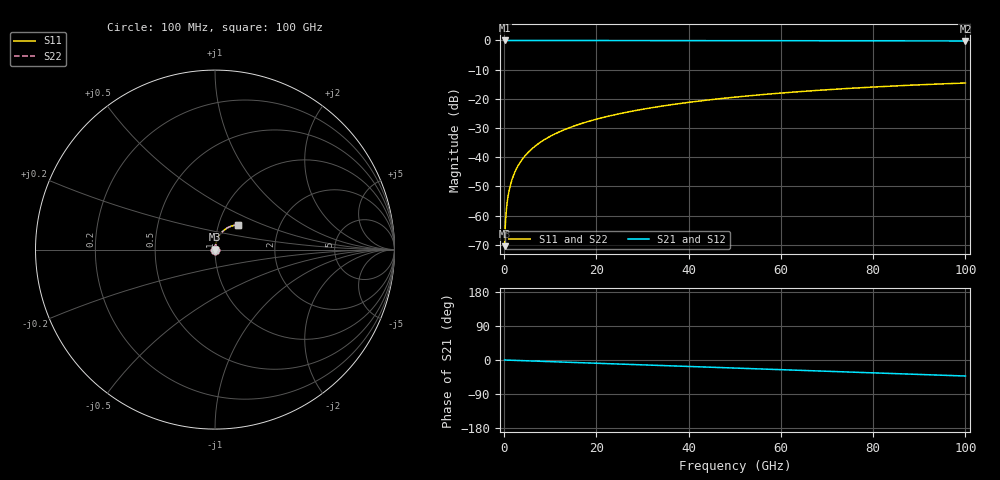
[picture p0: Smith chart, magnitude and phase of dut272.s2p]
! Touchstone file exported from HFSS 2026.1.0
!  File:  C:/ffzhzh/LocalFiles/Ansys_Project_Files/temp_train_TSV_272_1783508703_41296.aedt
!  Generated:  07:06:19 PM Jul  8, 2026
!  Design:  TSV
!  Project:  temp_train_TSV_272_1783508703_41296
! Variables:
!  h_bsmrdl = 2um
!  h_ox = 20um
!  h_rdl = 5um
!  h_sub = 78.13um
!  h_tmrdl = 5um
!  h_tsv = 78.13um
!  h_via = 3um
!  l_bsmrdl = 300um
!  l_sub = 418.44um
!  l_tmrdl = 200um
!  m_sub = 200um
!  pitch = 54.52um
!  r_tsv = 9.22um
!  s_tmrdl = 10um
!  w_bsmrdl = 18um
!  w_sub = 500um
!  w_tmrdl = 12um
!  x_tsv_center1 = 206um
!  x_tsv_center2 = 524um
!  x_tsv_center3 = 736um
!  x_tsv_center4 = 1054um
!  x_tsv_center5 = 1266um
!  x_tsv_center6 = 1584um
# GHz S MA R 50.000000
! Terminal data exported
! Port[1] = TSV1_1_T1
! Port[2] = TSV1_1_T2
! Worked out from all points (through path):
!   1000 points, 100 MHz to 100 GHz, reference 50 ohm
!   highest |S21| = 0.00 dB at 100 MHz (marker M1); lowest = -0.2 dB at 100 GHz (marker M2)
!   group delay of S21, straight-line fit = 1.17 ps
!   lowest |S11| = -70.5 dB at 100 MHz (marker M3), VSWR 1.00, Z = 50 + j0.0265 ohm
!   |S11| at or under -10 dB: start of sweep to end of sweep
!   |S22| runs from -70.5 to -14.6 dB; largest |S21 - S12| = 2.2e-15
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0.1  0.0002987 62.4  0.9999 -0.0  0.9999 -0.0  0.0002987 62.4
! Gamma 0 0 0 0
! Port Impedance 50 0 50 0
0.3  0.0008007 77.9  0.9998 -0.1  0.9998 -0.1  0.0008007 77.9
0.7  0.001779 81.9  0.9998 -0.3  0.9998 -0.3  0.001779 81.9
0.8  0.002016 82.3  0.9997 -0.4  0.9997 -0.4  0.002016 82.3
1  0.002487 82.9  0.9997 -0.4  0.9997 -0.4  0.002487 82.9
1.3  0.003187 83.6  0.9997 -0.6  0.9997 -0.6  0.003187 83.6
1.7  0.004114 84.1  0.9996 -0.7  0.9996 -0.7  0.004114 84.1
2.3  0.005495 84.5  0.9996 -1.0  0.9996 -1.0  0.005495 84.5
3  0.007093 84.7  0.9995 -1.3  0.9995 -1.3  0.007093 84.7
3.8  0.008906 84.7  0.9994 -1.7  0.9994 -1.7  0.008906 84.7
4.8  0.01116 84.7  0.9993 -2.1  0.9993 -2.1  0.01116 84.7
6  0.01386 84.5  0.9992 -2.6  0.9992 -2.6  0.01386 84.5
8.8  0.02012 83.8  0.9989 -3.8  0.9989 -3.8  0.02012 83.8
12.4  0.02811 82.6  0.9986 -5.3  0.9986 -5.3  0.02811 82.6
16.8  0.03778 81.0  0.9981 -7.2  0.9981 -7.2  0.03778 81.0
24.2  0.05384 78.1  0.9971 -10.4  0.9971 -10.4  0.05384 78.1
33.4  0.07334 74.4  0.9956 -14.3  0.9956 -14.3  0.07334 74.4
41.2  0.08937 71.2  0.9941 -17.6  0.9941 -17.6  0.08937 71.2
50.1  0.107 67.6  0.9922 -21.4  0.9922 -21.4  0.107 67.6
66.7  0.1374 60.7  0.9882 -28.4  0.9882 -28.4  0.1374 60.7
83.4  0.1643 53.8  0.9838 -35.4  0.9838 -35.4  0.1643 53.8
100  0.1865 47.1  0.9795 -42.3  0.9795 -42.3  0.1865 47.0
